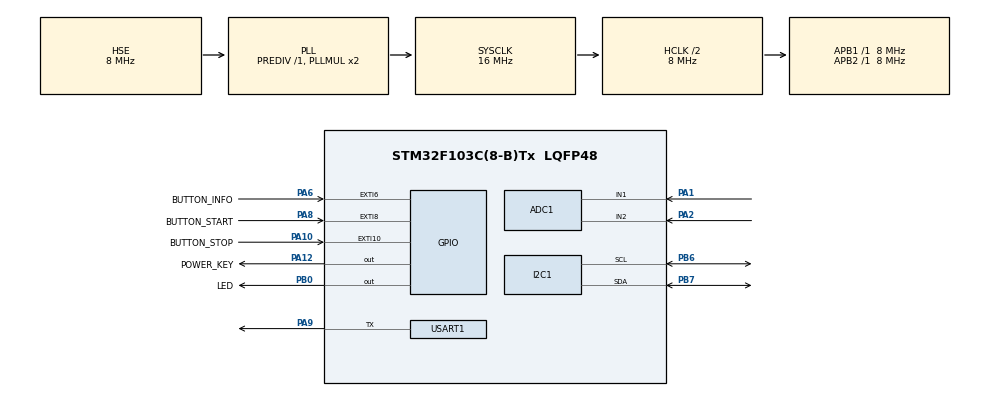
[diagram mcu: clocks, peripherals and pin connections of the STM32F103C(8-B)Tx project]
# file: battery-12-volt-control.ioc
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ADC1.Channel-1\#ChannelRegularConversion=ADC_CHANNEL_1
ADC1.Channel-2\#ChannelRegularConversion=ADC_CHANNEL_2
ADC1.Channel-3\#ChannelRegularConversion=ADC_CHANNEL_TEMPSENSOR
ADC1.Channel-4\#ChannelRegularConversion=ADC_CHANNEL_VREFINT
ADC1.ContinuousConvMode=ENABLE
ADC1.NbrOfConversion=4
ADC1.NbrOfConversionFlag=1
ADC1.Rank-1\#ChannelRegularConversion=1
ADC1.Rank-2\#ChannelRegularConversion=2
ADC1.Rank-3\#ChannelRegularConversion=3
ADC1.Rank-4\#ChannelRegularConversion=4
ADC1.SamplingTime-1\#ChannelRegularConversion=ADC_SAMPLETIME_7CYCLES_5
ADC1.SamplingTime-2\#ChannelRegularConversion=ADC_SAMPLETIME_7CYCLES_5
ADC1.SamplingTime-3\#ChannelRegularConversion=ADC_SAMPLETIME_239CYCLES_5
ADC1.SamplingTime-4\#ChannelRegularConversion=ADC_SAMPLETIME_239CYCLES_5
ADC1.master=1
Dma.ADC1.0.Direction=DMA_PERIPH_TO_MEMORY
Dma.ADC1.0.Instance=DMA1_Channel1
Dma.ADC1.0.MemDataAlignment=DMA_MDATAALIGN_WORD
Dma.ADC1.0.MemInc=DMA_MINC_ENABLE
Dma.ADC1.0.Mode=DMA_CIRCULAR
Dma.ADC1.0.PeriphDataAlignment=DMA_PDATAALIGN_WORD
Dma.ADC1.0.PeriphInc=DMA_PINC_DISABLE
Dma.ADC1.0.Priority=DMA_PRIORITY_LOW
Dma.Request0=ADC1
IWDG.Prescaler=IWDG_PRESCALER_32
Mcu.Family=STM32F1
Mcu.Name=STM32F103C(8-B)Tx
Mcu.Package=LQFP48
NVIC.DMA1_Channel1_IRQn=true\:0\:0\:false\:false\:true\:false\:true\:true
NVIC.EXTI15_10_IRQn=true\:0\:0\:false\:false\:true\:true\:true\:true
NVIC.EXTI9_5_IRQn=true\:0\:0\:false\:false\:true\:true\:true\:true
NVIC.PriorityGroup=NVIC_PRIORITYGROUP_4
NVIC.RTC_Alarm_IRQn=true\:0\:0\:false\:false\:true\:true\:true\:true
PA1.Signal=ADCx_IN1
PA10.GPIO_Label=BUTTON_STOP
PA10.GPIO_ModeDefaultEXTI=GPIO_MODE_IT_RISING
PA10.GPIO_PuPd=GPIO_PULLDOWN
PA10.Signal=GPXTI10
PA12.GPIO_Label=POWER_KEY
PA12.GPIO_PuPd=GPIO_PULLDOWN
PA12.PinState=GPIO_PIN_SET
PA12.Signal=GPIO_Output
PA13.Mode=Serial_Wire
PA13.Signal=SYS_JTMS-SWDIO
PA14.Mode=Serial_Wire
PA14.Signal=SYS_JTCK-SWCLK
PA2.Signal=ADCx_IN2
PA6.GPIO_Label=BUTTON_INFO
PA6.GPIO_ModeDefaultEXTI=GPIO_MODE_IT_RISING
PA6.GPIO_PuPd=GPIO_PULLDOWN
PA6.Signal=GPXTI6
PA8.GPIO_Label=BUTTON_START
PA8.GPIO_ModeDefaultEXTI=GPIO_MODE_IT_RISING
PA8.GPIO_PuPd=GPIO_PULLDOWN
PA8.Signal=GPXTI8
PA9.Mode=Half_duplex(single_wire_mode)
PA9.Signal=USART1_TX
PB0.GPIO_Label=LED
PB0.GPIO_ModeDefaultOutputPP=GPIO_MODE_OUTPUT_OD
PB0.GPIO_PuPd=GPIO_NOPULL
PB0.PinState=GPIO_PIN_SET
PB0.Signal=GPIO_Output
PB6.Mode=I2C
PB6.Signal=I2C1_SCL
PB7.Mode=I2C
PB7.Signal=I2C1_SDA
PD0-OSC_IN.Mode=HSE-External-Oscillator
PD0-OSC_IN.Signal=RCC_OSC_IN
PD1-OSC_OUT.Mode=HSE-External-Oscillator
PD1-OSC_OUT.Signal=RCC_OSC_OUT
ProjectManager.HeapSize=0x200
ProjectManager.StackSize=0x400
ProjectManager.TargetToolchain=STM32CubeIDE
RCC.AHBCLKDivider=RCC_SYSCLK_DIV2
RCC.AHBFreq_Value=8000000
RCC.APB1Freq_Value=8000000
RCC.APB1TimFreq_Value=8000000
RCC.APB2Freq_Value=8000000
RCC.APB2TimFreq_Value=8000000
RCC.HCLKFreq_Value=8000000
RCC.PLLSourceVirtual=RCC_PLLSOURCE_HSE
RCC.SYSCLKFreq_VALUE=16000000
RCC.SYSCLKSource=RCC_SYSCLKSOURCE_PLLCLK
RCC.USBFreq_Value=16000000
RTC.Format=RTC_FORMAT_BIN
SH.ADCx_IN1.0=ADC1_IN1,IN1
SH.ADCx_IN2.0=ADC1_IN2,IN2
USART1.Mode=MODE_TX
USART1.VirtualMode=VM_ASYNC
VP_ADC1_TempSens_Input.Mode=IN-TempSens
VP_ADC1_Vref_Input.Mode=IN-Vrefint
VP_IWDG_VS_IWDG.Mode=IWDG_Activate
VP_RTC_VS_RTC_Activate.Mode=RTC_Enabled
board=custom

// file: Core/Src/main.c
/* USER CODE BEGIN Header */
/**
  ******************************************************************************
  * @file           : main.c
  * @brief          : Main program body
  ******************************************************************************
  * @attention
  *
  * Copyright (c) 2022 STMicroelectronics.
  * All rights reserved.
  *
  * This software is licensed under terms that can be found in the LICENSE file
  * in the root directory of this software component.
  * If no LICENSE file comes with this software, it is provided AS-IS.
  *
  ******************************************************************************
  */
/* USER CODE END Header */
#include "main.h"
#include "adc.h"
#include "dma.h"
#include "i2c.h"
#include "iwdg.h"
#include "rtc.h"
#include "usart.h"
#include "gpio.h"

/* USER CODE BEGIN Includes */

	#include "stdio.h"
	#include <string.h>
	#include "adc_light_stm32f103_hal_sm.h"
	#include "lcd1602_fc113_sm.h"
	#include "LCD1602.h"

/* USER CODE END Includes */

/* USER CODE BEGIN PV */

	char 		DataChar[0xFF] = {0};
	int 		counter 		= 0	;
	uint8_t 	alarma 			= 0	;
	uint8_t		time_to_print 	= 0	;

	uint8_t 	button_info		= 0 ;
	uint8_t 	button_start	= 0 ;
	uint8_t 	button_stop		= 0 ;

	uint32_t 	adc1_value[4] = {0}	;

	lcd1602_handle 		hlcd1602 = 	{
		.i2c = &hi2c1,
		.device_i2c_address = ADR_I2C_FC113
	};

/* USER CODE END PV */

void SystemClock_Config(void);
/* USER CODE BEGIN PFP */

	void UartDebug	(char* _text)	;
	void StmSleep	(void) 			;
	void StmStop	(void) 			;
	void LedOff 	(void) 			;
	void LedOn 		(lcd1602_handle* _hlcd1602) ;
	void SetAlarm	(void)			;

/* USER CODE END PFP */

int main(void)
{

  /* MCU Configuration--------------------------------------------------------*/

  /* Reset of all peripherals, Initializes the Flash interface and the Systick. */
  HAL_Init();

  /* Configure the system clock */
  SystemClock_Config();

  /* Initialize all configured peripherals */
  MX_GPIO_Init();
  MX_DMA_Init();
  MX_I2C1_Init();
  MX_USART1_UART_Init();
  MX_ADC1_Init();
  MX_IWDG_Init();
  MX_RTC_Init();
  /* USER CODE BEGIN 2 */

	int soft_version_arr_int[3];
	soft_version_arr_int[0] = ((SOFT_VERSION) / 100) ;
	soft_version_arr_int[1] = ((SOFT_VERSION) /   10) %10 ;
	soft_version_arr_int[2] = ((SOFT_VERSION)       ) %10 ;

	sprintf(DataChar,"\r\n\r\n\tBattery 12 Volt control v%d.%d.%d " ,
			soft_version_arr_int[0] , soft_version_arr_int[1] , soft_version_arr_int[2] );
	UartDebug(DataChar);

	#define 	DATE_as_int_str 	(__DATE__)
	#define 	TIME_as_int_str 	(__TIME__)
	sprintf(DataChar,"\r\n\tBuild: %s. Time: %s.\r\n" , DATE_as_int_str , TIME_as_int_str ) ;
	UartDebug(DataChar);

	HAL_Delay(300);
	HAL_IWDG_Refresh(&hiwdg);
	HAL_ADC_Start_DMA(&hadc1, adc1_value, 4);
	alarma = 1 ;

  /* USER CODE END 2 */

  /* Infinite loop */
  /* USER CODE BEGIN WHILE */
  while (1)
  {
		if ( button_info == 1) {
			LedOn(&hlcd1602);
			sprintf(DataChar,"\tButton: Info \r\n" ); UartDebug(DataChar);
			sprintf(DataChar,"Button: Info" );
			LCD1602_Print_Line(&hlcd1602, DataChar, strlen(DataChar), LED_ON);
			counter 	= 0;
			button_info = 0;
			SetAlarm();
		}

		if (button_start == 1) {
			LedOn(&hlcd1602);
			sprintf(DataChar,"\tButton: Start \r\n" ); UartDebug(DataChar);
			sprintf(DataChar,"Button: Start" );
			LCD1602_Print_Line(&hlcd1602, DataChar, strlen(DataChar), LED_ON);
			counter 	= 0;
			button_start= 0;
			SetAlarm();
		}

		if ( button_stop == 1) {
			LedOn(&hlcd1602);
			sprintf(DataChar,"\tButton: Stop \r\n" ); UartDebug(DataChar);
			sprintf(DataChar,"Button: Stop" );
			LCD1602_Print_Line(&hlcd1602, DataChar, strlen(DataChar), LED_ON);
			counter 	= 0;
			button_stop = 0;
			SetAlarm();
		}

	if (alarma == 1) {
		HAL_IWDG_Refresh(&hiwdg);
		counter++;
		sprintf(DataChar,"%d", counter ); UartDebug(DataChar);
		if (counter ==  5 ) { LedOff(); }
		if (counter >= 20 ) { time_to_print = 1; }
		SetAlarm();
		alarma = 0;
	}

	if (time_to_print == 1 ) {
		LedOn(&hlcd1602);
		uint32_t voltage_u32 = 1000 * adc1_value[0] / VOLT_COEFFICIENT;
		uint32_t current_u32 = 0 ;
		#define CURRENT_LEVEL 3020
		#define CURRENT_DELTA    5
		if (adc1_value[1] < CURRENT_LEVEL - CURRENT_DELTA) {
			current_u32 = 10 * (CURRENT_LEVEL - adc1_value[1]) ;
		}
		if (adc1_value[1] > CURRENT_LEVEL + CURRENT_DELTA) {
			current_u32 = 10 * (adc1_value[1] - CURRENT_LEVEL) ;
		}
		if (	(adc1_value[1] > CURRENT_LEVEL - CURRENT_DELTA)
			&&	(adc1_value[1] < CURRENT_LEVEL + CURRENT_DELTA)) {
			current_u32 = 0 ;
		}

		uint32_t v25_u32 = 14300;
		uint32_t avg_slope_u32 = 43;
		uint32_t vsense_u32 = 1000 * 33 / 4096;
		vsense_u32 = 33 * 1000 * adc1_value[2] / 4096;
		uint32_t temp_u32 = (((v25_u32 - vsense_u32) / avg_slope_u32) + 25 );
		uint32_t vref_u32 = 3300*adc1_value[3]/4096;

		sprintf(DataChar, "\t%lu.%02luV   %03lumA (%04lu)   temp: %luC   Vref: %luV\r\n",
				voltage_u32/100, voltage_u32%100,
				current_u32						,
				adc1_value[1]					,
				temp_u32						,
				vref_u32 						);
		UartDebug(DataChar);

		sprintf(DataChar, " %lu.%02luV   %03lumA Vref %lu  %luC",
				voltage_u32/100, voltage_u32%100,
				current_u32						,
				vref_u32						,
				temp_u32 						);
		LCD1602_Print_Line(&hlcd1602, DataChar, strlen(DataChar), LED_ON);
		counter = 0;
		SetAlarm();
		time_to_print = 0;
	}

	StmStop();

    /* USER CODE END WHILE */

  }
}

void SystemClock_Config(void)
{
  RCC_OscInitTypeDef RCC_OscInitStruct = {0};
  RCC_ClkInitTypeDef RCC_ClkInitStruct = {0};
  RCC_PeriphCLKInitTypeDef PeriphClkInit = {0};

  /** Initializes the RCC Oscillators according to the specified parameters
  * in the RCC_OscInitTypeDef structure.
  */
  RCC_OscInitStruct.OscillatorType = RCC_OSCILLATORTYPE_LSI|RCC_OSCILLATORTYPE_HSE;
  RCC_OscInitStruct.HSEState = RCC_HSE_ON;
  RCC_OscInitStruct.HSEPredivValue = RCC_HSE_PREDIV_DIV1;
  RCC_OscInitStruct.HSIState = RCC_HSI_ON;
  RCC_OscInitStruct.LSIState = RCC_LSI_ON;
  RCC_OscInitStruct.PLL.PLLState = RCC_PLL_ON;
  RCC_OscInitStruct.PLL.PLLSource = RCC_PLLSOURCE_HSE;
  RCC_OscInitStruct.PLL.PLLMUL = RCC_PLL_MUL2;
  if (HAL_RCC_OscConfig(&RCC_OscInitStruct) != HAL_OK)
  {
    Error_Handler();
  }

  /** Initializes the CPU, AHB and APB buses clocks
  */
  RCC_ClkInitStruct.ClockType = RCC_CLOCKTYPE_HCLK|RCC_CLOCKTYPE_SYSCLK
                              |RCC_CLOCKTYPE_PCLK1|RCC_CLOCKTYPE_PCLK2;
  RCC_ClkInitStruct.SYSCLKSource = RCC_SYSCLKSOURCE_PLLCLK;
  RCC_ClkInitStruct.AHBCLKDivider = RCC_SYSCLK_DIV2;
  RCC_ClkInitStruct.APB1CLKDivider = RCC_HCLK_DIV1;
  RCC_ClkInitStruct.APB2CLKDivider = RCC_HCLK_DIV1;

  if (HAL_RCC_ClockConfig(&RCC_ClkInitStruct, FLASH_LATENCY_0) != HAL_OK)
  {
    Error_Handler();
  }
  PeriphClkInit.PeriphClockSelection = RCC_PERIPHCLK_RTC|RCC_PERIPHCLK_ADC;
  PeriphClkInit.RTCClockSelection = RCC_RTCCLKSOURCE_LSI;
  PeriphClkInit.AdcClockSelection = RCC_ADCPCLK2_DIV2;
  if (HAL_RCCEx_PeriphCLKConfig(&PeriphClkInit) != HAL_OK)
  {
    Error_Handler();
  }
}

/* USER CODE BEGIN 4 */

void UartDebug(char* _text) {
#ifdef MY_DEBUG
	HAL_UART_Transmit(UART_DEBUG, (uint8_t*)_text, strlen(_text), 100);
#endif
} //**************************************************************************

void LedOn (lcd1602_handle* _hlcd1602){
	HAL_GPIO_WritePin(POWER_KEY_GPIO_Port,POWER_KEY_Pin,GPIO_PIN_SET);
	LCD1602_Init(_hlcd1602);
} //**************************************************************************

void LedOff (void){
	HAL_GPIO_WritePin(POWER_KEY_GPIO_Port,POWER_KEY_Pin,GPIO_PIN_RESET);
} //**************************************************************************

void StmSleep(void) {
	#ifndef STOP_PRINT
		sprintf(DataChar, "sleep.. "); UartDebug(DataChar) ;
	#endif
	#ifdef LOCAL_IWDG
		HAL_IWDG_Refresh(&hiwdg);
	#endif
    HAL_SuspendTick();
	HAL_PWR_EnterSLEEPMode(	PWR_MAINREGULATOR_ON, PWR_SLEEPENTRY_WFI );	//	Sec in Sec
	// -> Sleep MODE <- //
	SystemClock_Config();
	HAL_ResumeTick();
	#ifndef STOP_PRINT
		sprintf(DataChar, "^ "); UartDebug(DataChar) ;
	#endif
} //**************************************************************************

void StmStop(void) {
	#ifndef STOP_PRINT
		sprintf(DataChar, " Stop... "); UartDebug(DataChar) ;
	#endif
	#ifdef LOCAL_IWDG
		HAL_IWDG_Refresh(&hiwdg);
	#endif
    HAL_SuspendTick();
	HAL_PWR_EnterSTOPMode(	PWR_LOWPOWERREGULATOR_ON,	PWR_STOPENTRY_WFI  );
	// -> STOP MODE <- //
    SystemClock_Config();
	HAL_ResumeTick();
	#ifndef STOP_PRINT
		sprintf(DataChar, "^ "); UartDebug(DataChar) ;
	#endif
} //**************************************************************************

void HAL_RTC_AlarmAEventCallback(RTC_HandleTypeDef *hrtc) {
	alarma = 1;
} //**************************************************************************

void SetAlarm (void) {
	RTC_TimeTypeDef TimeSt = { 0 } ;
	HAL_RTC_GetTime(&hrtc, &TimeSt, RTC_FORMAT_BIN);
	RTC_AlarmTypeDef AlarmSt = {0};
	AlarmSt.Alarm 				= 0					;
	AlarmSt.AlarmTime.Hours   	= TimeSt.Hours		;
	AlarmSt.AlarmTime.Minutes 	= TimeSt.Minutes	;
	AlarmSt.AlarmTime.Seconds 	= TimeSt.Seconds 	;
	HAL_RTC_SetAlarm_IT(&hrtc, &AlarmSt, RTC_FORMAT_BIN);
} //**************************************************************************

void HAL_GPIO_EXTI_Callback(uint16_t GPIO_Pin) {
	if ( GPIO_Pin == BUTTON_INFO_Pin) {
		button_info = 1;
	}

	if ( GPIO_Pin == BUTTON_START_Pin ) {
		button_start = 1;
	}

	if ( GPIO_Pin == BUTTON_STOP_Pin ) {
		button_stop = 1;
	}
} //**************************************************************************

//**************************************************************************
/* USER CODE END 4 */

void Error_Handler(void)
{
  __disable_irq();
  while (1)
  {
  }
}
